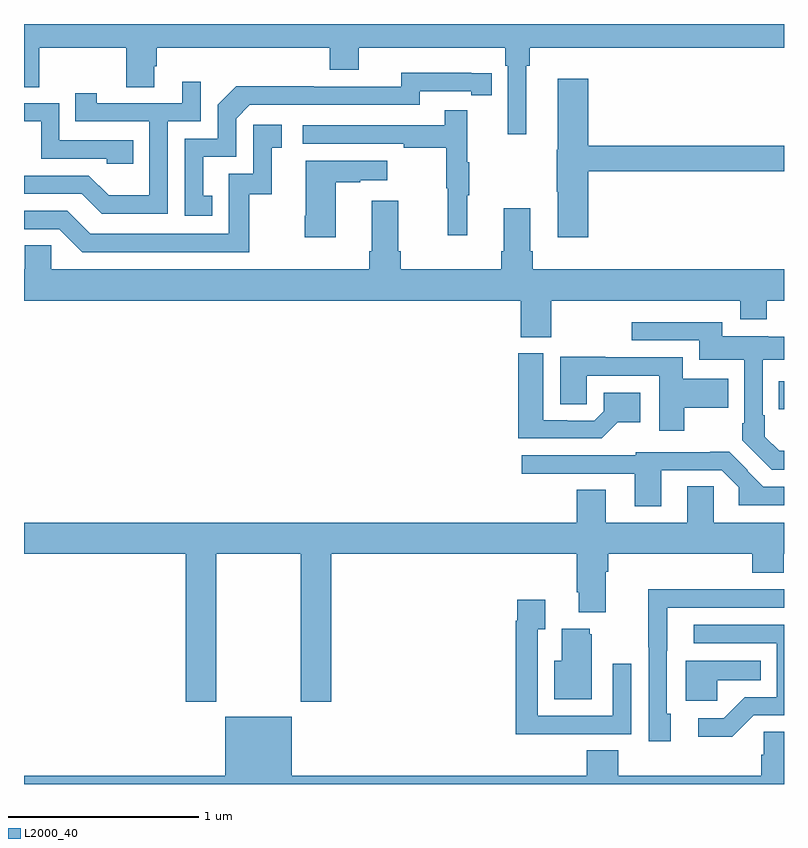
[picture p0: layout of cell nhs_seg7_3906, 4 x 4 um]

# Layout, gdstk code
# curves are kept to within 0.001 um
import gdstk
lib = gdstk.Library(unit=1e-6, precision=1e-09)
def R(c, l, rs):  # rectangles x0, y0, x1, y1
    for r in rs: c.add(gdstk.rectangle(r[:2], r[2:], *l))
def P(c, l, *ps):  # polygons
    for p in ps: c.add(gdstk.Polygon(p, *l))
L2000_40 = (2000, 40)

nhs_seg7_3906 = lib.new_cell('nhs_seg7_3906')
R(nhs_seg7_3906, L2000_40, [(360.973,1071.972,361,1072.12)])
P(nhs_seg7_3906, L2000_40, [(359.644,1073.78),(359.663,1073.78),(359.663,1073.876),(361,1073.876),(361,1074),(357,1074),(357,1073.668),(357.081,1073.668),(357.081,1073.876),(357.538,1073.876),(357.538,1073.668),(357.685,1073.668),(357.685,1073.778),(357.698,1073.778),(357.698,1073.876),(358.61,1073.876),(358.61,1073.759),(358.762,1073.759),(358.762,1073.876),(359.534,1073.876),(359.534,1073.78),(359.547,1073.78),(359.547,1073.421),(359.644,1073.421)],
  [(357.992,1073.097),(357.943,1073.097),(357.943,1073.301),(358.116,1073.301),(358.116,1073.502),(358.188,1073.574),(359.082,1073.574),(359.082,1073.646),(359.354,1073.646),(359.354,1073.626),(359.462,1073.626),(359.462,1073.742),(358.986,1073.743),(358.986,1073.67),(358.526,1073.67),(358.526,1073.672),(358.118,1073.672),(358.02,1073.574),(358.02,1073.397),(357.846,1073.397),(357.846,1072.992),(357.992,1072.992)],
  [(359.969,1073.224),(361,1073.224),(361,1073.36),(359.969,1073.36),(359.969,1073.713),(359.81,1073.713),(359.81,1073.337),(359.803,1073.337),(359.803,1073.116),(359.81,1073.116),(359.81,1072.878),(359.969,1072.878)],
  [(357.756,1073.487),(357.93,1073.487),(357.93,1073.695),(357.833,1073.695),(357.833,1073.583),(357.382,1073.583),(357.382,1073.635),(357.271,1073.635),(357.271,1073.487),(357.66,1073.487),(357.66,1073.098),(357.446,1073.098),(357.342,1073.202),(357,1073.202),(357,1073.106),(357.305,1073.106),(357.41,1073.001),(357.756,1073.001)],
  [(357.575,1073.388),(357.186,1073.388),(357.186,1073.583),(357,1073.583),(357,1073.487),(357.09,1073.487),(357.09,1073.292),(357.435,1073.292),(357.435,1073.265),(357.575,1073.265)],
  [(359.333,1073.099),(359.344,1073.099),(359.344,1073.273),(359.333,1073.273),(359.333,1073.545),(359.215,1073.545),(359.215,1073.466),(358.467,1073.466),(358.467,1073.37),(358.999,1073.37),(358.999,1073.35),(359.223,1073.35),(359.223,1073.136),(359.23,1073.136),(359.23,1072.887),(359.333,1072.887)],
  [(358.186,1073.103),(358.304,1073.103),(358.304,1073.349),(358.357,1073.349),(358.357,1073.47),(358.206,1073.47),(358.206,1073.211),(358.077,1073.211),(358.077,1072.896),(357.348,1072.896),(357.228,1073.016),(357,1073.016),(357,1072.92),(357.186,1072.92),(357.306,1072.8),(358.186,1072.8)],
  [(358.642,1073.167),(358.769,1073.167),(358.769,1073.177),(358.912,1073.177),(358.912,1073.281),(358.484,1073.281),(358.484,1072.99),(358.477,1072.99),(358.477,1072.878),(358.642,1072.878)],
  [(359.775,1072.544),(360.77,1072.544),(360.77,1072.445),(360.91,1072.445),(360.91,1072.544),(361,1072.544),(361,1072.708),(359.678,1072.708),(359.678,1072.804),(359.665,1072.804),(359.665,1073.029),(359.525,1073.029),(359.525,1072.804),(359.513,1072.804),(359.513,1072.708),(358.982,1072.708),(358.982,1072.804),(358.969,1072.804),(358.969,1073.071),(358.829,1073.071),(358.829,1072.804),(358.817,1072.804),(358.817,1072.708),(357.144,1072.708),(357.144,1072.835),(357.005,1072.835),(357.005,1072.708),(357,1072.708),(357,1072.544),(359.615,1072.544),(359.615,1072.352),(359.775,1072.352)],
  [(361,1071.753),(360.974,1071.753),(360.898,1071.828),(360.898,1071.94),(360.888,1071.94),(360.888,1072.233),(361,1072.233),(361,1072.353),(360.917,1072.353),(360.917,1072.357),(360.676,1072.357),(360.676,1072.431),(360.198,1072.431),(360.198,1072.335),(360.554,1072.335),(360.554,1072.232),(360.792,1072.232),(360.792,1071.898),(360.78,1071.898),(360.78,1071.809),(360.935,1071.654),(361,1071.654)],
  [(360.126,1071.905),(360.244,1071.905),(360.244,1072.06),(360.051,1072.06),(360.051,1071.963),(360,1071.912),(359.858,1071.912),(359.858,1071.915),(359.734,1071.915),(359.734,1072.267),(359.6,1072.267),(359.6,1071.819),(360.04,1071.819)],
  [(360.474,1071.98),(360.707,1071.98),(360.707,1072.132),(360.466,1072.132),(360.466,1072.245),(360.058,1072.245),(360.058,1072.25),(359.822,1072.25),(359.822,1072),(359.961,1072),(359.961,1072.149),(360.344,1072.149),(360.344,1071.858),(360.474,1071.858)],
  [(360.355,1071.651),(360.672,1071.651),(360.763,1071.561),(360.763,1071.468),(361,1071.468),(361,1071.564),(360.891,1071.564),(360.806,1071.649),(360.809,1071.652),(360.711,1071.75),(360.611,1071.75),(360.611,1071.747),(360.219,1071.747),(360.219,1071.729),(359.619,1071.729),(359.619,1071.633),(360.215,1071.633),(360.215,1071.462),(360.355,1071.462)],
  [(358.011,1071.212),(358.456,1071.212),(358.456,1070.433),(358.616,1070.433),(358.616,1071.212),(359.909,1071.212),(359.909,1071.01),(359.921,1071.01),(359.921,1070.903),(360.061,1070.903),(360.061,1071.116),(360.074,1071.116),(360.074,1071.212),(360.833,1071.212),(360.833,1071.113),(360.998,1071.113),(360.998,1071.212),(361,1071.212),(361,1071.376),(360.63,1071.376),(360.63,1071.566),(360.491,1071.566),(360.491,1071.376),(360.061,1071.376),(360.061,1071.548),(359.909,1071.548),(359.909,1071.376),(357,1071.376),(357,1071.212),(357.851,1071.212),(357.851,1070.433),(358.011,1070.433)],
  [(360.403,1070.37),(360.384,1070.37),(360.384,1070.701),(360.385,1070.701),(360.385,1070.928),(361,1070.928),(361,1071.024),(360.749,1071.024),(360.749,1071.026),(360.286,1071.026),(360.286,1070.719),(360.288,1070.719),(360.288,1070.226),(360.403,1070.226)],
  [(359.879,1070.262),(360.195,1070.262),(360.195,1070.632),(360.099,1070.632),(360.099,1070.358),(359.703,1070.358),(359.703,1070.815),(359.743,1070.815),(359.743,1070.971),(359.595,1070.971),(359.595,1070.858),(359.587,1070.858),(359.587,1070.261),(359.879,1070.261)],
  [(360.84,1070.361),(361,1070.361),(361,1070.838),(360.525,1070.838),(360.525,1070.742),(360.963,1070.742),(360.963,1070.457),(360.794,1070.457),(360.683,1070.346),(360.549,1070.346),(360.549,1070.249),(360.727,1070.249)],
  [(359.989,1070.787),(359.978,1070.787),(359.978,1070.818),(359.831,1070.818),(359.831,1070.65),(359.792,1070.65),(359.792,1070.447),(359.989,1070.447)],
  [(360.648,1070.546),(360.878,1070.546),(360.878,1070.65),(360.482,1070.65),(360.482,1070.438),(360.648,1070.438)],
  [(361,1070.276),(360.894,1070.276),(360.894,1070.153),(360.881,1070.153),(360.881,1070.044),(360.128,1070.044),(360.128,1070.177),(359.963,1070.177),(359.963,1070.044),(358.408,1070.044),(358.408,1070.353),(358.058,1070.353),(358.058,1070.044),(357,1070.044),(357,1070),(361,1070)])

lib.write_gds('nhs_seg7_3906.gds')
